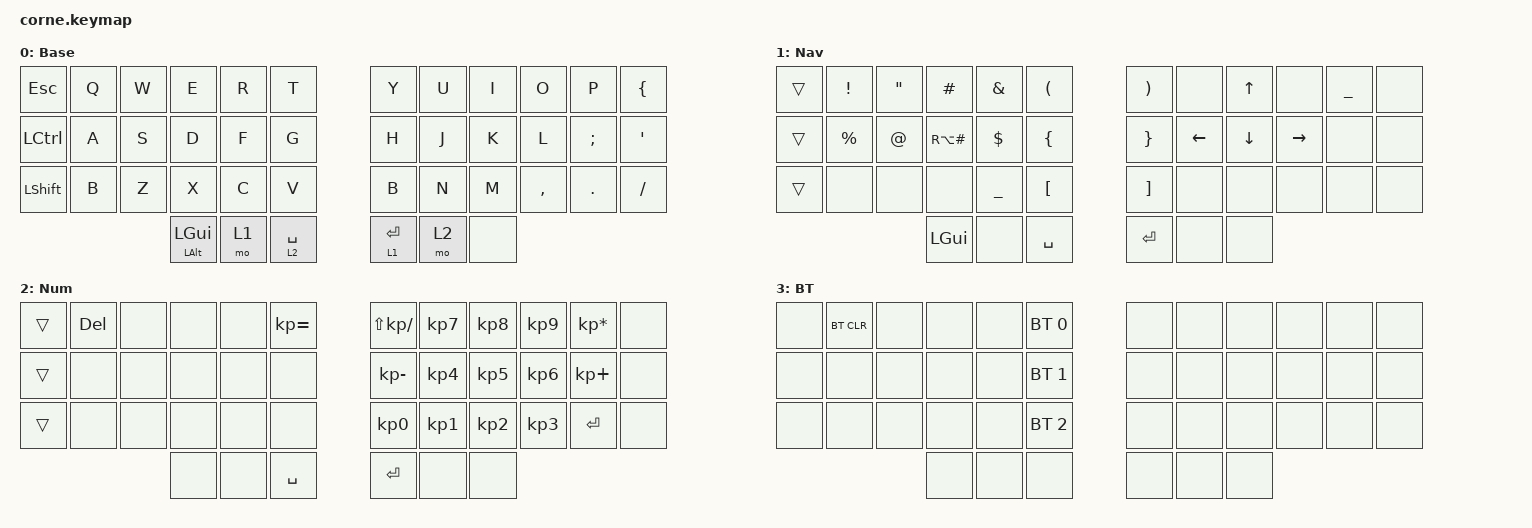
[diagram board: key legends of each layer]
/*
 * Copyright (c) 2020 The ZMK Contributors
 *
 * SPDX-License-Identifier: MIT
 */

#include <behaviors.dtsi>
#include <dt-bindings/zmk/bt.h>
#include <dt-bindings/zmk/keys.h>

/ {
    combos {
        compatible = "zmk,combos";

        combo_BSPC {
            timeout-ms = <50>;
            key-positions = <10 11>;
            bindings = <&kp BSPC>;
        };

        Layer3 {
            bindings = <&tog 3>;
            key-positions = <36 41>;
        };

        Combo_Enter {
            bindings = <&kp ENTER>;
            key-positions = <22 23>;
        };

        Combo_TAB {
            bindings = <&kp TAB>;
            key-positions = <1 0>;
        };

        Combo_DEL {
            bindings = <&kp DELETE>;
            key-positions = <9 10>;
            layers = <2>;
        };
    };
};

/ {
    keymap {
        compatible = "zmk,keymap";

        // 0 Base -----------------------------------------------------------------------------------------

        default_layer {
            display-name = "Base";
            bindings = <
&kp ESCAPE        &kp Q  &kp W  &kp E              &kp R  &kp T          &kp Y      &kp U  &kp I  &kp O      &kp P          &kp LEFT_BRACE
&kp LEFT_CONTROL  &kp A  &kp S  &kp D              &kp F  &kp G          &kp H      &kp J  &kp K  &kp L      &kp SEMICOLON  &kp SINGLE_QUOTE
&kp LEFT_SHIFT    &kp B  &kp Z  &kp X              &kp C  &kp V          &kp B      &kp N  &kp M  &kp COMMA  &kp DOT        &kp SLASH
                                &mt LEFT_ALT LGUI  &mo 1  &lt 2 SPACE    &lt 1 RET  &mo 2  &none
            >;
        };

        // 1 Nav -----------------------------------------------------------------------------------------

        lower_layer {
            display-name = "Nav";
            bindings = <
&trans  &kp EXCLAMATION  &kp DOUBLE_QUOTES  &kp HASH       &kp AMPERSAND  &kp LEFT_PARENTHESIS    &kp RIGHT_PARENTHESIS  &none     &kp UP    &none      &kp UNDERSCORE  &none
&trans  &kp PERCENT      &kp AT             &kp RA(POUND)  &kp DOLLAR     &kp LEFT_BRACE          &kp RIGHT_BRACE        &kp LEFT  &kp DOWN  &kp RIGHT  &none           &none
&trans  &none            &none              &none          &kp UNDER      &kp LEFT_BRACKET        &kp RIGHT_BRACKET      &none     &none     &none      &none           &none
                                            &kp LGUI       &none          &kp SPACE               &kp RET                &none     &none
            >;
        };

        // 2 Num-----------------------------------------------------------------------------------------

        raise_layer {
            display-name = "Num";
            bindings = <
&trans  &kp DELETE  &none  &none  &none  &kp KP_EQUAL    &kp LS(KP_DIVIDE)  &kp KP_NUMBER_7  &kp KP_NUMBER_8  &kp KP_NUMBER_9  &kp KP_MULTIPLY  &none
&trans  &none       &none  &none  &none  &none           &kp KP_MINUS       &kp KP_NUMBER_4  &kp KP_NUMBER_5  &kp KP_NUMBER_6  &kp KP_PLUS      &none
&trans  &none       &none  &none  &none  &none           &kp KP_NUMBER_0    &kp KP_NUMBER_1  &kp KP_NUMBER_2  &kp KP_NUMBER_3  &kp ENTER        &none
                           &none  &none  &kp SPACE       &kp RET            &none            &none
            >;
        };

        // 3 BT-----------------------------------------------------------------------------------------

        extra_1 {
            display-name = "BT";
            bindings = <
&none  &bt BT_CLR  &none  &none  &none  &bt BT_SEL 0    &none  &none  &none  &none  &none  &none
&none  &none       &none  &none  &none  &bt BT_SEL 1    &none  &none  &none  &none  &none  &none
&none  &none       &none  &none  &none  &bt BT_SEL 2    &none  &none  &none  &none  &none  &none
                          &none  &none  &none           &none  &none  &none
            >;
        };

        extra_2 { status = "reserved"; };

        extra_3 { status = "reserved"; };
    };
};
